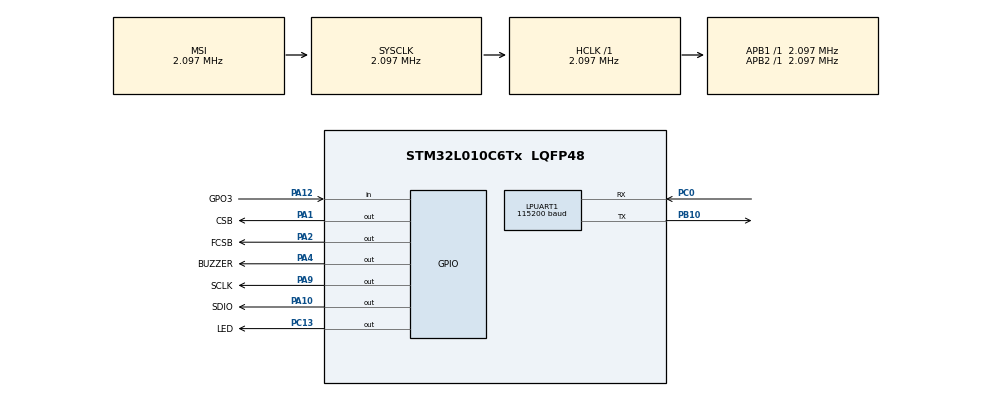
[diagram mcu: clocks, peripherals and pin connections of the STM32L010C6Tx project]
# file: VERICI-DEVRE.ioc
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LPUART1.BaudRate=115200
LPUART1.WordLength=UART_WORDLENGTH_8B
Mcu.Family=STM32L0
Mcu.Name=STM32L010C6Tx
Mcu.Package=LQFP48
PA1.GPIO_Label=CSB
PA1.Signal=GPIO_Output
PA10.GPIO_Label=SDIO
PA10.Signal=GPIO_Output
PA12.GPIO_Label=GPO3
PA12.Signal=GPIO_Input
PA13.Mode=Serial_Wire
PA13.Signal=SYS_SWDIO
PA14.Mode=Serial_Wire
PA14.Signal=SYS_SWCLK
PA2.GPIO_Label=FCSB
PA2.Signal=GPIO_Output
PA4.GPIO_Label=BUZZER
PA4.Signal=GPIO_Output
PA9.GPIO_Label=SCLK
PA9.Signal=GPIO_Output
PB10.Mode=Asynchronous
PB10.Signal=LPUART1_TX
PC0.Mode=Asynchronous
PC0.Signal=LPUART1_RX
PC13-ANTI_TAMP.GPIO_Label=LED
PC13-ANTI_TAMP.Signal=GPIO_Output
PH0-OSC_IN.Mode=HSE-External-Oscillator
PH0-OSC_IN.Signal=RCC_OSC_IN
PH1-OSC_OUT.Mode=HSE-External-Oscillator
PH1-OSC_OUT.Signal=RCC_OSC_OUT
ProjectManager.HeapSize=0x200
ProjectManager.StackSize=0x400
ProjectManager.TargetToolchain=STM32CubeIDE
RCC.AHBFreq_Value=2097000
RCC.APB1Freq_Value=2097000
RCC.APB1TimFreq_Value=2097000
RCC.APB2Freq_Value=2097000
RCC.APB2TimFreq_Value=2097000
RCC.HCLKFreq_Value=2097000
RCC.HSE_VALUE=8000000
RCC.HSI16_VALUE=16000000
RCC.HSI_VALUE=16000000
RCC.LSE_VALUE=32768
RCC.MSI_VALUE=2097000
RCC.PLLMUL=RCC_PLLMUL_8
RCC.PLLSourceVirtual=RCC_PLLSOURCE_HSE
RCC.SYSCLKFreq_VALUE=2097000
RCC.VCOOutputFreq_Value=64000000
board=custom

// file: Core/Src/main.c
/* USER CODE BEGIN Header */
/**
  ******************************************************************************
  * @file           : main.c
  * @brief          : Main program body
  ******************************************************************************
  * @attention
  *
  * <h2><center>&copy; Copyright (c) 2021 STMicroelectronics.
  * All rights reserved.</center></h2>
  *
  * This software component is licensed by ST under BSD 3-Clause license,
  * the "License"; You may not use this file except in compliance with the
  * License. You may obtain a copy of the License at:
  *                        opensource.org/licenses/BSD-3-Clause
  *
  ******************************************************************************
  */
/* USER CODE END Header */
#include "main.h"

/* USER CODE BEGIN Includes */
#include "RFM300_Driver.h"
#include "rf_conf.h"
/* USER CODE END Includes */

UART_HandleTypeDef hlpuart1;

void SystemClock_Config(void);
static void MX_GPIO_Init(void);
static void MX_LPUART1_UART_Init(void);

/* USER CODE BEGIN 0 */
/*void delay_us (uint16_t us)
{
	__HAL_TIM_SET_COUNTER(&htim2,0);  // set the counter value a 0
	while (__HAL_TIM_GET_COUNTER(&htim2) < us);  // wait for the counter to reach the us input in the parameter
}*/
/* USER CODE END 0 */

int main(void)
{

  /* MCU Configuration--------------------------------------------------------*/

  /* Reset of all peripherals, Initializes the Flash interface and the Systick. */
  HAL_Init();

  /* Configure the system clock */
  SystemClock_Config();

  /* Initialize all configured peripherals */
  MX_GPIO_Init();
  MX_LPUART1_UART_Init();
  /* USER CODE BEGIN 2 */
 // HAL_TIM_Base_Start( & htim2);
#define TX_NUM  21

  byte tx_buf[32] = {'H','o','p','e','R','F',' ','R','F','M',' ','C','O','B','R','F','M','3','0','0','A'};
  byte rx_buf[32];
  byte mode = 1;   // 0: receive , 1: transmitter

//radio configure
  HAL_UART_Transmit( &hlpuart1, "BA......\r\n",12, 100);
  FixedPktLength    = false;
    PayloadLength     = 21;

    vInit();
    vCfgBank(CMTBank, 12);
    vCfgBank(SystemBank, 12);
    vCfgBank(FrequencyBank, 8);
    vCfgBank(DataRateBank, 24);
    vCfgBank(BasebandBank, 29);
    vCfgBank(TXBank, 11);
    vEnableAntSwitch(0);
    vGpioFuncCfg(GPIO1_DCLK+GPIO2_DCLK+GPIO3_INT2);   //GPIO Maping

    HAL_Delay(1);//delay_us(10);

      mode = 1;
      vIntSrcCfg(INT_FIFO_NMTY_TX, INT_TX_DONE);    //IRQ maping

      vIntSrcEnable(TX_DONE_EN);
      vClearFIFO();

      bGoSleep();
      HAL_UART_Transmit( &hlpuart1, "TX......\r\n",12, 100);
  /* USER CODE END 2 */

  /* Infinite loop */
  while (1)
  {

    /* USER CODE BEGIN 3 */
	  static uint16_t tx_cnt=0;
	   byte tmp;
	        bSendMessage(tx_buf, TX_NUM);
	        while(HAL_GPIO_ReadPin(GPO3_GPIO_Port, GPO3_Pin) == 0);
	        bIntSrcFlagClr();
	        vClearFIFO();
	        bGoSleep();
	        HAL_UART_Transmit( &hlpuart1, "gonderildi\r\n",12, 100);

	        HAL_Delay(1000);

  }
  /* USER CODE END 3 */
}

void SystemClock_Config(void)
{
  RCC_OscInitTypeDef RCC_OscInitStruct = {0};
  RCC_ClkInitTypeDef RCC_ClkInitStruct = {0};
  RCC_PeriphCLKInitTypeDef PeriphClkInit = {0};

  /** Configure the main internal regulator output voltage
  */
  __HAL_PWR_VOLTAGESCALING_CONFIG(PWR_REGULATOR_VOLTAGE_SCALE1);
  /** Initializes the RCC Oscillators according to the specified parameters
  * in the RCC_OscInitTypeDef structure.
  */
  RCC_OscInitStruct.OscillatorType = RCC_OSCILLATORTYPE_MSI;
  RCC_OscInitStruct.MSIState = RCC_MSI_ON;
  RCC_OscInitStruct.MSICalibrationValue = 0;
  RCC_OscInitStruct.MSIClockRange = RCC_MSIRANGE_5;
  RCC_OscInitStruct.PLL.PLLState = RCC_PLL_NONE;
  if (HAL_RCC_OscConfig(&RCC_OscInitStruct) != HAL_OK)
  {
    Error_Handler();
  }
  /** Initializes the CPU, AHB and APB buses clocks
  */
  RCC_ClkInitStruct.ClockType = RCC_CLOCKTYPE_HCLK|RCC_CLOCKTYPE_SYSCLK
                              |RCC_CLOCKTYPE_PCLK1|RCC_CLOCKTYPE_PCLK2;
  RCC_ClkInitStruct.SYSCLKSource = RCC_SYSCLKSOURCE_MSI;
  RCC_ClkInitStruct.AHBCLKDivider = RCC_SYSCLK_DIV1;
  RCC_ClkInitStruct.APB1CLKDivider = RCC_HCLK_DIV1;
  RCC_ClkInitStruct.APB2CLKDivider = RCC_HCLK_DIV1;

  if (HAL_RCC_ClockConfig(&RCC_ClkInitStruct, FLASH_LATENCY_0) != HAL_OK)
  {
    Error_Handler();
  }
  PeriphClkInit.PeriphClockSelection = RCC_PERIPHCLK_LPUART1;
  PeriphClkInit.Lpuart1ClockSelection = RCC_LPUART1CLKSOURCE_PCLK1;
  if (HAL_RCCEx_PeriphCLKConfig(&PeriphClkInit) != HAL_OK)
  {
    Error_Handler();
  }
}

static void MX_LPUART1_UART_Init(void)
{

  hlpuart1.Instance = LPUART1;
  hlpuart1.Init.BaudRate = 115200;
  hlpuart1.Init.WordLength = UART_WORDLENGTH_8B;
  hlpuart1.Init.StopBits = UART_STOPBITS_1;
  hlpuart1.Init.Parity = UART_PARITY_NONE;
  hlpuart1.Init.Mode = UART_MODE_TX_RX;
  hlpuart1.Init.HwFlowCtl = UART_HWCONTROL_NONE;
  hlpuart1.Init.OneBitSampling = UART_ONE_BIT_SAMPLE_DISABLE;
  hlpuart1.AdvancedInit.AdvFeatureInit = UART_ADVFEATURE_NO_INIT;
  if (HAL_UART_Init(&hlpuart1) != HAL_OK)
  {
    Error_Handler();
  }

}

static void MX_GPIO_Init(void)
{
  GPIO_InitTypeDef GPIO_InitStruct = {0};

  /* GPIO Ports Clock Enable */
  __HAL_RCC_GPIOC_CLK_ENABLE();
  __HAL_RCC_GPIOH_CLK_ENABLE();
  __HAL_RCC_GPIOA_CLK_ENABLE();
  __HAL_RCC_GPIOB_CLK_ENABLE();

  /*Configure GPIO pin Output Level */
  HAL_GPIO_WritePin(LED_GPIO_Port, LED_Pin, GPIO_PIN_RESET);

  /*Configure GPIO pin Output Level */
  HAL_GPIO_WritePin(GPIOA, CSB_Pin|FCSB_Pin|BUZZER_Pin|SCLK_Pin
                          |SDIO_Pin, GPIO_PIN_RESET);

  /*Configure GPIO pin : LED_Pin */
  GPIO_InitStruct.Pin = LED_Pin;
  GPIO_InitStruct.Mode = GPIO_MODE_OUTPUT_PP;
  GPIO_InitStruct.Pull = GPIO_NOPULL;
  GPIO_InitStruct.Speed = GPIO_SPEED_FREQ_LOW;
  HAL_GPIO_Init(LED_GPIO_Port, &GPIO_InitStruct);

  /*Configure GPIO pins : CSB_Pin FCSB_Pin BUZZER_Pin SCLK_Pin
                           SDIO_Pin */
  GPIO_InitStruct.Pin = CSB_Pin|FCSB_Pin|BUZZER_Pin|SCLK_Pin
                          |SDIO_Pin;
  GPIO_InitStruct.Mode = GPIO_MODE_OUTPUT_PP;
  GPIO_InitStruct.Pull = GPIO_NOPULL;
  GPIO_InitStruct.Speed = GPIO_SPEED_FREQ_LOW;
  HAL_GPIO_Init(GPIOA, &GPIO_InitStruct);

  /*Configure GPIO pin : GPO3_Pin */
  GPIO_InitStruct.Pin = GPO3_Pin;
  GPIO_InitStruct.Mode = GPIO_MODE_INPUT;
  GPIO_InitStruct.Pull = GPIO_NOPULL;
  HAL_GPIO_Init(GPO3_GPIO_Port, &GPIO_InitStruct);

}

void Error_Handler(void)
{
  __disable_irq();
  while (1)
  {
  }
}

/************************ (C) COPYRIGHT STMicroelectronics *****END OF FILE****/
